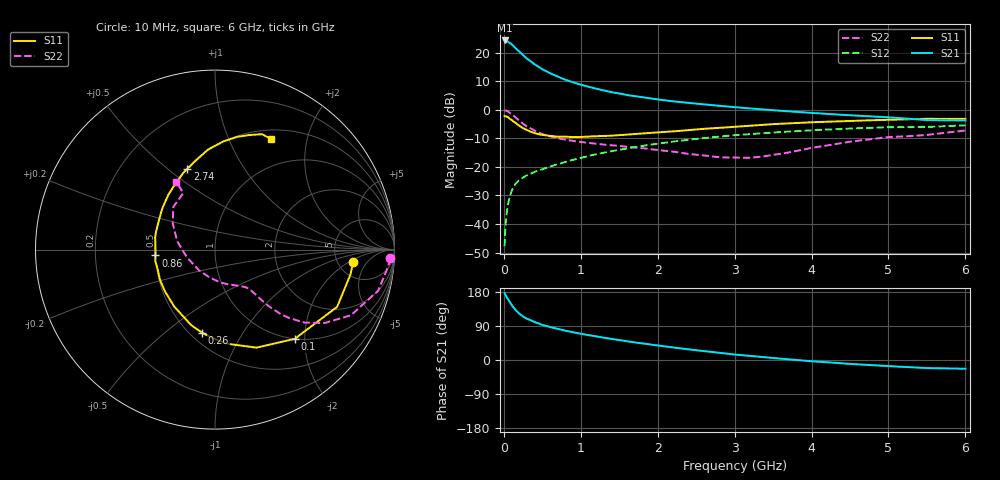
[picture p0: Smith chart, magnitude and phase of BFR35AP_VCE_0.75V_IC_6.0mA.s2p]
! Infineon Technologies  Discrete & RF Semiconductors
! BFR35AP
! VCE = 0.75 V,  IC =  6.0 mA
! Common Emitter S-Parameters:  Nov 2015
# GHz  S  MA  R  50
!  f  S11  S21  S12  S22
! GHz  MAG  ANG  MAG  ANG  MAG  ANG  MAG  ANG
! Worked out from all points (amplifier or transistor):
!   210 points, 10 MHz to 6 GHz, reference 50 ohm
!   highest |S21| = 24.2 dB at 10 MHz (marker M1)
!   |S21| within 3 dB of that: start of sweep to 165.1 MHz
!   unconditionally stable (mu >= 1): 615.4 MHz to end of sweep
!   at 185 MHz: K = 0.45, MSG = 22.9 dB, |S12| = -25.0 dB
!   at 1.52 GHz: K = 1.19, MAG = 7.1 dB, |S12| = -13.9 dB
!   at 6 GHz: K = 1.05, MAG = -0.5 dB, |S12| = -5.4 dB
!   S11 on the Smith chart (normalised r, x): 10 MHz: 6.91, -2.45; 100 MHz: 1.00, -1.79; 260 MHz: 0.57, -0.68; 860 MHz: 0.50, -0.04; 2.74 GHz: 0.50, +0.59; 6 GHz: 0.62, +1.45
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0.01  0.7726 -5.3  16.27 176.3  0.0041 86.2  0.9782 -2.9
0.025  0.7615 -12.7  15.88 170.4  0.0107 81.3  0.9619 -7.1
0.05  0.7516 -25.1  15.64 161.4  0.0206 77.0  0.9377 -14.1
0.1  0.6668 -48.2  14.05 145.3  0.0378 66.9  0.8409 -25.8
0.15  0.5931 -67.1  12.03 132.1  0.0502 60.0  0.7351 -33.8
0.155  0.5846 -68.5  11.86 131.2  0.051 59.5  0.7256 -34.3
0.2  0.5272 -83.3  10.44 122.3  0.0588 55.7  0.6428 -39.2
0.24  0.4855 -93.7  9.259 116.3  0.064 53.3  0.5803 -41.8
0.26  0.4691 -98.7  8.746 113.6  0.0665 52.7  0.5538 -43.0
0.3  0.4409 -107.6  7.828 108.9  0.0711 52.3  0.5097 -44.6
0.4  0.3902 -125.6  6.228 100.0  0.0815 51.5  0.4302 -46.6
0.5  0.3631 -140.3  5.108 92.7  0.0908 52.2  0.3748 -47.4
0.7  0.3376 -161.5  3.784 81.8  0.1116 53.3  0.3172 -48.3
0.86  0.3337 -174.4  3.134 74.9  0.1287 53.7  0.29 -49.2
1.02  0.3346 173.3  2.693 68.5  0.1459 53.9  0.2702 -50.8
1.4  0.3516 153.5  2.026 55.8  0.1881 52.3  0.239 -57.4
2.02  0.4036 129.4  1.502 37.8  0.2573 46.9  0.1953 -74.4
2.74  0.475 109.0  1.19 20.4  0.333 38.1  0.1503 -109.6
3.1  0.5133 101.1  1.08 12.7  0.3659 33.1  0.144 -135.5
4.1  0.6097 84.4  0.862 -4.6  0.4432 19.6  0.2249 163.1
5.1  0.672 72.1  0.72 -17.2  0.4937 6.2  0.3363 131.2
6  0.6907 62.9  0.647 -23.0  0.534 -3.0  0.432 119.8
